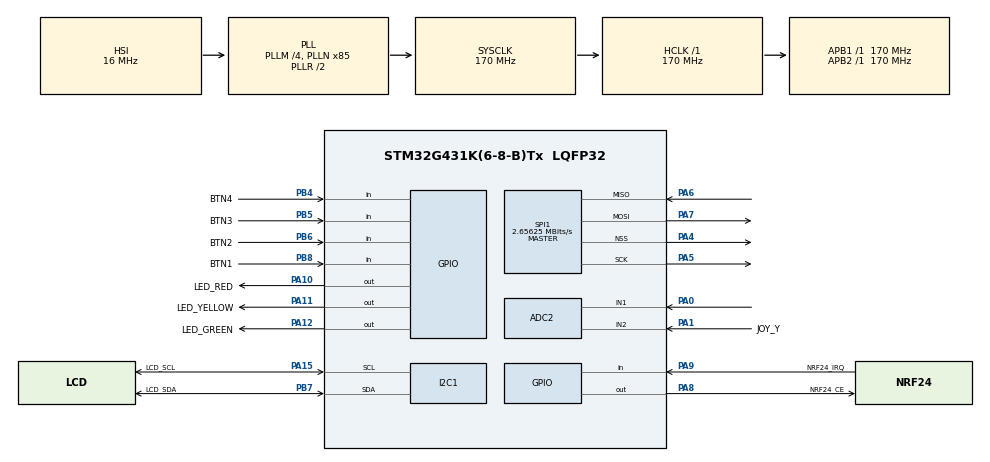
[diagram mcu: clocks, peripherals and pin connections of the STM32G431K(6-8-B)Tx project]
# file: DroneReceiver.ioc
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ADC2.Channel-0\#ChannelRegularConversion=ADC_CHANNEL_2
ADC2.NbrOfConversionFlag=1
ADC2.OffsetNumber-0\#ChannelRegularConversion=ADC_OFFSET_NONE
ADC2.Rank-0\#ChannelRegularConversion=1
ADC2.SamplingTime-0\#ChannelRegularConversion=ADC_SAMPLETIME_2CYCLES_5
I2C1.Timing=0x40B285C2
Mcu.Family=STM32G4
Mcu.Name=STM32G431K(6-8-B)Tx
Mcu.Package=LQFP32
NVIC.PriorityGroup=NVIC_PRIORITYGROUP_4
PA0.Mode=IN1-Single-Ended
PA0.Signal=ADC2_IN1
PA1.GPIO_Label=JOY_Y
PA1.Mode=IN2-Single-Ended
PA1.Signal=ADC2_IN2
PA10.GPIO_Label=LED_RED
PA10.Signal=GPIO_Output
PA11.GPIO_Label=LED_YELLOW
PA11.Signal=GPIO_Output
PA12.GPIO_Label=LED_GREEN
PA12.Signal=GPIO_Output
PA13.GPIO_Label=T_SWDIO
PA13.Signal=SYS_JTMS-SWDIO
PA14.GPIO_Label=T_SWCLK
PA14.Signal=SYS_JTCK-SWCLK
PA15.GPIO_Label=LCD_SCL
PA15.Mode=I2C
PA15.Signal=I2C1_SCL
PA2.GPIO_Label=USART2_TX [ST-LINKV3E_VCP_RX]
PA2.Signal=USART2_TX
PA3.GPIO_Label=USART2_RX [ST-LINKV3E_VCP_TX]
PA3.Signal=USART2_RX
PA4.Mode=NSS_Signal_Hard_Output
PA4.Signal=SPI1_NSS
PA5.Mode=Full_Duplex_Master
PA5.Signal=SPI1_SCK
PA6.Mode=Full_Duplex_Master
PA6.Signal=SPI1_MISO
PA7.Mode=Full_Duplex_Master
PA7.Signal=SPI1_MOSI
PA8.GPIO_Label=NRF24_CE
PA8.Signal=GPIO_Output
PA9.GPIO_Label=NRF24_IRQ
PA9.Signal=GPIO_Input
PB3.GPIO_Label=T_SWO
PB3.Signal=SYS_JTDO-SWO
PB4.GPIO_Label=BTN4
PB4.Signal=GPIO_Input
PB5.GPIO_Label=BTN3
PB5.Signal=GPIO_Input
PB6.GPIO_Label=BTN2
PB6.Signal=GPIO_Input
PB7.GPIO_Label=LCD_SDA
PB7.Mode=I2C
PB7.Signal=I2C1_SDA
PB8-BOOT0.GPIO_Label=BTN1
PB8-BOOT0.Signal=GPIO_Input
ProjectManager.HeapSize=0x200
ProjectManager.StackSize=0x400
ProjectManager.TargetToolchain=CMake
RCC.ADC12Freq_Value=170000000
RCC.AHBFreq_Value=170000000
RCC.APB1Freq_Value=170000000
RCC.APB1TimFreq_Value=170000000
RCC.APB2Freq_Value=170000000
RCC.APB2TimFreq_Value=170000000
RCC.CortexFreq_Value=170000000
RCC.EXTERNAL_CLOCK_VALUE=12288000
RCC.HCLKFreq_Value=170000000
RCC.HSE_VALUE=8000000
RCC.HSI48_VALUE=48000000
RCC.HSI_VALUE=16000000
RCC.LSE_VALUE=32768
RCC.PLLM=RCC_PLLM_DIV4
RCC.PLLN=85
RCC.SYSCLKFreq_VALUE=170000000
RCC.SYSCLKSource=RCC_SYSCLKSOURCE_PLLCLK
RCC.USBFreq_Value=170000000
RCC.VCOOutputFreq_Value=340000000
SPI1.BaudRatePrescaler=SPI_BAUDRATEPRESCALER_64
SPI1.CalculateBaudRate=2.65625 MBits/s
SPI1.DataSize=SPI_DATASIZE_8BIT
SPI1.Direction=SPI_DIRECTION_2LINES
SPI1.Mode=SPI_MODE_MASTER
SPI1.VirtualNSS=VM_NSSHARD
SPI1.VirtualType=VM_MASTER
VP_SYS_VS_DBSignals.Mode=DisableDeadBatterySignals
board=NUCLEO-G431KB

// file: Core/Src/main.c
/* USER CODE BEGIN Header */
/**
  ******************************************************************************
  * @file           : main.c
  * @brief          : Drone Receiver - NRF24L01 to UART Bridge
  ******************************************************************************
  * @attention
  *
  * Copyright (c) 2026 STMicroelectronics.
  * All rights reserved.
  *
  * This software is licensed under terms that can be found in the LICENSE file
  * in the root directory of this software component.
  * If no LICENSE file comes with this software, it is provided AS-IS.
  *
  ******************************************************************************
  */
/* USER CODE END Header */
#include "main.h"
#include "adc.h"
#include "i2c.h"
#include "spi.h"
#include "gpio.h"

/* USER CODE BEGIN Includes */
#include "nrf24.h"
#include "stm32g4xx_hal.h"
#include <stdio.h>
#include <string.h>
/* USER CODE END Includes */

/* USER CODE BEGIN PTD */

typedef struct {
    uint8_t command;        // Command type
    uint32_t data;          // Command data (32-bit)
} uart_command_t;

/* USER CODE END PTD */

/* USER CODE BEGIN PD */

#define MAX_PAYLOAD_SIZE    32      // Maximum NRF24L01 payload size
#define UART_BUFFER_SIZE    128     // UART output buffer size
#define RF_CHANNEL          76      // RF channel (2.476 GHz)
#define PAYLOAD_SIZE        32      // Expected payload size

// UART Command Protocol
#define UART_CMD_SIZE       5       // Command size: 1 byte cmd + 4 bytes data
#define UART_RX_TIMEOUT     10      // UART receive timeout in ms

// NRF24L01 TX Buffer
#define TX_BUFFER_SIZE      3       // Maximum 3 messages in TX buffer
#define TX_MESSAGE_SIZE     32      // Each message is 32 bytes

typedef struct {
    uint8_t messages[TX_BUFFER_SIZE][TX_MESSAGE_SIZE];  // TX message buffer
    uint8_t count;                                      // Number of messages queued
} tx_buffer_t;

/* USER CODE END PD */

/* USER CODE BEGIN PV */
static uint32_t message_count = 0;
static uint32_t command_count = 0;
static uint32_t tx_count = 0;
static uint8_t uart_rx_buffer[UART_CMD_SIZE];
static tx_buffer_t tx_buffer = {0};  // TX buffer for outgoing messages
/* USER CODE END PV */

void SystemClock_Config(void);
/* USER CODE BEGIN PFP */
static void NRF24_Configure(void);
static void ProcessReceivedMessage(uint8_t *data, uint8_t length);
static bool UART_ReadCommand(uart_command_t *cmd);
static void ProcessUARTCommand(uart_command_t *cmd);
static void UART_SendRawBytes(const uint8_t *data, uint8_t length);
static bool TX_QueueMessage(uint8_t *data, uint8_t length);
static void TX_SendAllMessages(void);
static void NRF24_SwitchToTX(void);
static void NRF24_SwitchToRX(void);
/* USER CODE END PFP */

/* USER CODE BEGIN 0 */

/**
 * @brief Configure NRF24L01 for receiving
 */
static void NRF24_Configure(void)
{
    // Initialize NRF24L01
    nrf24_Init();

    // Set RF channel
    nrf24_SetChannel(RF_CHANNEL);

    // Set data rate to 1Mbps (0=250kbps, 1=1Mbps, 2=2Mbps)
    nrf24_SetDataRate(1);

    // Set power level to maximum (0=-18dBm, 1=-12dBm, 2=-6dBm, 3=0dBm)
    nrf24_SetPowerLevel(3);

    // Disable auto-acknowledgment for all pipes
    nrf24_WriteRegister(0x01, 0x00);

    // Enable only pipe 0
    nrf24_WriteRegister(0x02, 0x01);

    // Set payload width for pipe 0
    nrf24_WriteRegister(0x11, PAYLOAD_SIZE);

    // Clear any pending interrupts and flush RX FIFO
    nrf24_ClearIRQFlags();
    nrf24_FlushRX();

    // Set to RX mode and start listening
    nrf24_SetRXTXMode(true);
}

/**
 * @brief Process and forward received message over UART using printf
 */
static void ProcessReceivedMessage(uint8_t *data, uint8_t length)
{
    message_count++;

    // Send message header and data in hex format
    printf("[MSG_%lu] ", (unsigned long)message_count);

    // Print data as hex bytes
    for (uint8_t i = 0; i < length; i++) {
        printf("%02X", data[i]);
        if (i < length - 1) printf(" ");
    }

    // Print data as ASCII (if printable)
    printf(" | ");
    for (uint8_t i = 0; i < length; i++) {
        if (data[i] >= 32 && data[i] <= 126) {
            printf("%c", data[i]);
        } else {
            printf(".");
        }
    }
    printf("\r\n");
}

/**
 * @brief Read a complete UART command (non-blocking)
 * @param cmd Pointer to store the parsed command
 * @return true if complete command received, false otherwise
 */
static bool UART_ReadCommand(uart_command_t *cmd)
{
    static uint8_t rx_index = 0;
    static uint32_t last_rx_time = 0;
    uint32_t current_time = HAL_GetTick();

    // Reset buffer if timeout occurred (incomplete command)
    if (rx_index > 0 && (current_time - last_rx_time) > UART_RX_TIMEOUT) {
        rx_index = 0;
        printf("UART: Command timeout, buffer reset\r\n");
    }

    // Check if data is available
    while ((USART2->ISR & USART_ISR_RXNE_RXFNE) && rx_index < UART_CMD_SIZE) {
        uart_rx_buffer[rx_index] = (uint8_t)(USART2->RDR);
        rx_index++;
        last_rx_time = current_time;

        // Check if we have a complete command
        if (rx_index >= UART_CMD_SIZE) {
            // Parse the command: first byte is command, next 4 bytes are data (little-endian)
            cmd->command = uart_rx_buffer[0];
            cmd->data = ((uint32_t)uart_rx_buffer[4] << 24) |
                       ((uint32_t)uart_rx_buffer[3] << 16) |
                       ((uint32_t)uart_rx_buffer[2] << 8)  |
                       ((uint32_t)uart_rx_buffer[1]);

            rx_index = 0;  // Reset for next command
            return true;
        }
    }

    return false;  // Command not complete yet
}

  /**
   * @brief Send raw bytes on UART2 without formatting
   * @param data Pointer to bytes to send
   * @param length Number of bytes to send
   */
  static void UART_SendRawBytes(const uint8_t *data, uint8_t length)
  {
    for (uint8_t i = 0; i < length; i++) {
      while (!(USART2->ISR & USART_ISR_TXE_TXFNF)) {
        // Wait until TX register can accept new data
      }
      USART2->TDR = data[i];
    }
  }

/**
 * @brief Process received UART command
 * @param cmd Pointer to the received command
 */
static void ProcessUARTCommand(uart_command_t *cmd)
{
    command_count++;
  uint8_t raw_cmd[UART_CMD_SIZE] = {
    cmd->command,
    (uint8_t)(cmd->data & 0xFF),
    (uint8_t)((cmd->data >> 8) & 0xFF),
    (uint8_t)((cmd->data >> 16) & 0xFF),
    (uint8_t)((cmd->data >> 24) & 0xFF)
  };

    printf("[CMD_%lu] Type: 0x%02X, Data: 0x%08lX (%lu)\r\n",
           (unsigned long)command_count,
           cmd->command,
           (unsigned long)cmd->data,
           (unsigned long)cmd->data);

    // Handle specific command types
    switch (cmd->command) {
        case 0x10:
            printf(" -> Get telemetry\r\n", (unsigned long)cmd->data);
            break;
        case 0x50:
            printf("  -> Launch\r\n", (unsigned long)cmd->data);
            break;
        case 0x55:
            printf("  -> Servo 1 set to %lu\r\n", (unsigned long)cmd->data);
            break;
        case 0x56:
            printf("  -> Servo 2 set to %lu\r\n", (unsigned long)cmd->data);
            break;
        case 0x57:
            printf("  -> Servo 3 set to %lu\r\n", (unsigned long)cmd->data);
            break;
        case 0x58:
            printf("  -> Servo 4 set to %lu\r\n", (unsigned long)cmd->data);
            break;
        case 0x59:
            printf("  -> Thrust set to %lu\r\n", (unsigned long)cmd->data);
            break;
        default:
            printf("  -> Unknown command type\r\n");
            printf("  -> Raw data: ");
            for (uint8_t i = 0; i < UART_CMD_SIZE; i++) {
                printf("%02X ", raw_cmd[i]);
            }
            printf("\r\n");
            break;
    }

    // Build 32-byte message: [CMD][DATA_0..3][reserved zeros]
    uint8_t tx_message[TX_MESSAGE_SIZE] = {0};
    tx_message[0] = raw_cmd[0];
    tx_message[1] = raw_cmd[1];
    tx_message[2] = raw_cmd[2];
    tx_message[3] = raw_cmd[3];
    tx_message[4] = raw_cmd[4];

    // Queue and immediately transmit to drone
    if (TX_QueueMessage(tx_message, TX_MESSAGE_SIZE)) {
        TX_SendAllMessages();
    } else {
        printf("  -> TX buffer full! Command dropped\r\n");
    }
}

/**
 * @brief Queue a message for transmission
 * @param data   Pointer to data to send
 * @param length Length of data (capped to TX_MESSAGE_SIZE)
 * @return true if queued successfully, false if buffer is full
 */
static bool TX_QueueMessage(uint8_t *data, uint8_t length)
{
    if (tx_buffer.count >= TX_BUFFER_SIZE) {
        return false;
    }
    if (length > TX_MESSAGE_SIZE) {
        length = TX_MESSAGE_SIZE;
    }
    memcpy(tx_buffer.messages[tx_buffer.count], data, length);
    if (length < TX_MESSAGE_SIZE) {
        memset(&tx_buffer.messages[tx_buffer.count][length], 0, TX_MESSAGE_SIZE - length);
    }
    tx_buffer.count++;
    return true;
}

/**
 * @brief Switch NRF24L01 to TX mode
 */
static void NRF24_SwitchToTX(void)
{
    nrf24_SetRXTXMode(false);
    HAL_Delay(1);
}

/**
 * @brief Switch NRF24L01 to RX mode
 */
static void NRF24_SwitchToRX(void)
{
    nrf24_SetRXTXMode(true);
    HAL_Delay(1);
}

/**
 * @brief Send all queued messages via NRF24L01 then return to RX mode
 */
static void TX_SendAllMessages(void)
{
    if (tx_buffer.count == 0) {
        return;
    }

    NRF24_SwitchToTX();

    for (uint8_t i = 0; i < tx_buffer.count; i++) {
        tx_count++;
        printf("[TX_%lu] Sending %d/%d... ", (unsigned long)tx_count, i + 1, tx_buffer.count);

        nrf24_Transmit(tx_buffer.messages[i], TX_MESSAGE_SIZE);
        HAL_Delay(5);

        uint8_t status = nrf24_ReadRegister(0x07);
        if (status & 0x20) {
            printf("OK\r\n");
        } else if (status & 0x10) {
            printf("FAILED (max retries)\r\n");
        } else {
            printf("UNKNOWN\r\n");
        }

        nrf24_ClearIRQFlags();

        if (i < tx_buffer.count - 1) {
            HAL_Delay(10);
        }
    }

    tx_buffer.count = 0;
    NRF24_SwitchToRX();
}

/* USER CODE END 0 */

int main(void)
{

  /* MCU Configuration--------------------------------------------------------*/

  /* Reset of all peripherals, Initializes the Flash interface and the Systick. */
  HAL_Init();

  /* Configure the system clock */
  SystemClock_Config();

  /* Initialize all configured peripherals */
  MX_GPIO_Init();
  MX_SPI1_Init();
  MX_ADC2_Init();
  MX_I2C1_Init();

  /* USER CODE BEGIN 2 */

  // Initialize USART2 for printf output (115200, 8N1)
  RCC->APB1ENR1 |= RCC_APB1ENR1_USART2EN;
  USART2->BRR = (170000000 + (115200 / 2)) / 115200;  // APB1 = 170MHz
  USART2->CR1 = USART_CR1_TE | USART_CR1_RE | USART_CR1_UE;

  // Send startup message
  printf("\r\n=== Drone Receiver Started ===\r\n");
  printf("System Clock: %lu MHz\r\n", HAL_RCC_GetSysClockFreq() / 1000000);

  // Configure NRF24L01 for receiving
  NRF24_Configure();

  // Verify NRF24L01 is responding by reading back the RF channel register (0x05)
  uint8_t channel_reg = nrf24_ReadRegister(0x05);
  if (channel_reg != RF_CHANNEL) {
    printf("ERROR: NRF24L01 not responding! Channel reg=0x%02X, expected 0x%02X. Check wiring.\r\n",
           channel_reg, RF_CHANNEL);
    while(1) {
      HAL_Delay(1000);
    }
  }

  printf("NRF24L01 initialized successfully\r\n");
  printf("RF Channel: %d (2.%03d GHz)\r\n", RF_CHANNEL, 400 + RF_CHANNEL);
  printf("Payload Size: %d bytes\r\n", PAYLOAD_SIZE);
  printf("UART Command Format: 1 byte cmd + 4 bytes data\r\n");
  printf("Listening for NRF24L01 messages and UART commands...\r\n\r\n");

  /* USER CODE END 2 */

  /* Infinite loop */
  while (1)
  {

    /* USER CODE BEGIN 3 */

    // Priority 1: Check if data is available from NRF24L01
    // Keep reading until FIFO is empty (up to 3 messages can be buffered)
    while (nrf24_dataReady()) {
      uint8_t rx_buffer[MAX_PAYLOAD_SIZE];

      // Receive the message
      bool success = nrf24_Receive(rx_buffer, PAYLOAD_SIZE);

      if (success) {
        // Process and forward the message over UART
        ProcessReceivedMessage(rx_buffer, PAYLOAD_SIZE);
      }

      // Clear interrupt flags after each message
      nrf24_ClearIRQFlags();
    }

    // Priority 2: Check for UART commands
    uart_command_t uart_cmd;
    if (UART_ReadCommand(&uart_cmd)) {
      ProcessUARTCommand(&uart_cmd);
    }

    // Optional: Add a small delay to prevent excessive polling
    // HAL_Delay(1);

  }
  /* USER CODE END 3 */
}

void SystemClock_Config(void)
{
  RCC_OscInitTypeDef RCC_OscInitStruct = {0};
  RCC_ClkInitTypeDef RCC_ClkInitStruct = {0};

  /** Configure the main internal regulator output voltage
  */
  HAL_PWREx_ControlVoltageScaling(PWR_REGULATOR_VOLTAGE_SCALE1_BOOST);

  /** Initializes the RCC Oscillators according to the specified parameters
  * in the RCC_OscInitTypeDef structure.
  */
  RCC_OscInitStruct.OscillatorType = RCC_OSCILLATORTYPE_HSI;
  RCC_OscInitStruct.HSIState = RCC_HSI_ON;
  RCC_OscInitStruct.HSICalibrationValue = RCC_HSICALIBRATION_DEFAULT;
  RCC_OscInitStruct.PLL.PLLState = RCC_PLL_ON;
  RCC_OscInitStruct.PLL.PLLSource = RCC_PLLSOURCE_HSI;
  RCC_OscInitStruct.PLL.PLLM = RCC_PLLM_DIV4;
  RCC_OscInitStruct.PLL.PLLN = 85;
  RCC_OscInitStruct.PLL.PLLP = RCC_PLLP_DIV2;
  RCC_OscInitStruct.PLL.PLLQ = RCC_PLLQ_DIV2;
  RCC_OscInitStruct.PLL.PLLR = RCC_PLLR_DIV2;
  if (HAL_RCC_OscConfig(&RCC_OscInitStruct) != HAL_OK)
  {
    Error_Handler();
  }

  /** Initializes the CPU, AHB and APB buses clocks
  */
  RCC_ClkInitStruct.ClockType = RCC_CLOCKTYPE_HCLK|RCC_CLOCKTYPE_SYSCLK
                              |RCC_CLOCKTYPE_PCLK1|RCC_CLOCKTYPE_PCLK2;
  RCC_ClkInitStruct.SYSCLKSource = RCC_SYSCLKSOURCE_PLLCLK;
  RCC_ClkInitStruct.AHBCLKDivider = RCC_SYSCLK_DIV1;
  RCC_ClkInitStruct.APB1CLKDivider = RCC_HCLK_DIV1;
  RCC_ClkInitStruct.APB2CLKDivider = RCC_HCLK_DIV1;

  if (HAL_RCC_ClockConfig(&RCC_ClkInitStruct, FLASH_LATENCY_4) != HAL_OK)
  {
    Error_Handler();
  }
}

void Error_Handler(void)
{
  __disable_irq();
  while (1)
  {
  }
}
